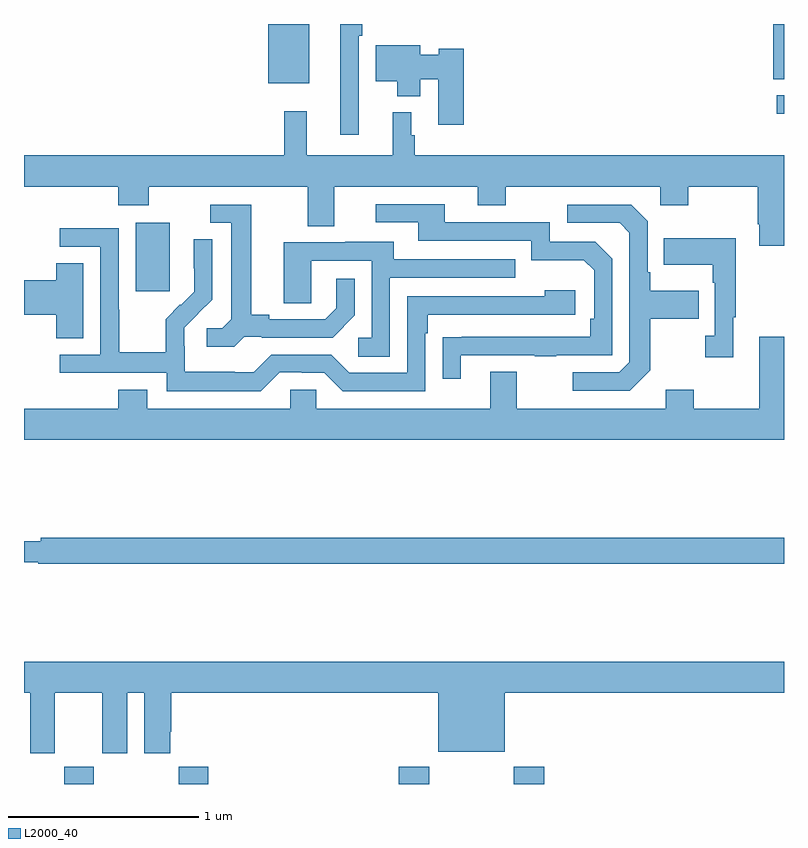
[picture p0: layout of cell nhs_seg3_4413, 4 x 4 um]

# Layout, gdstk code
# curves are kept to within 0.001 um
import gdstk
lib = gdstk.Library(unit=1e-6, precision=1e-09)
def R(c, l, rs):  # rectangles x0, y0, x1, y1
    for r in rs: c.add(gdstk.rectangle(r[:2], r[2:], *l))
def P(c, l, *ps):  # polygons
    for p in ps: c.add(gdstk.Polygon(p, *l))
L2000_40 = (2000, 40)

nhs_seg3_4413 = lib.new_cell('nhs_seg3_4413')
R(nhs_seg3_4413, L2000_40, [(345.211,736.4,345.366,736.492), (345.815,736.4,345.971,736.492), (346.973,736.4,347.133,736.492), (347.578,736.4,347.738,736.492), (345.587,738.993,345.766,739.354), (348.963,739.927,349,740.025), (346.286,740.087,346.501,740.4), (348.944,740.11,349,740.4)])
P(nhs_seg3_4413, L2000_40, [(346.761,740.339),(346.781,740.339),(346.781,740.4),(346.664,740.4),(346.664,739.818),(346.761,739.818)],
  [(347.315,740.27),(347.184,740.27),(347.184,740.239),(347.086,740.239),(347.086,740.287),(346.85,740.287),(346.85,740.099),(346.964,740.099),(346.964,740.021),(347.086,740.021),(347.086,740.11),(347.18,740.11),(347.18,739.869),(347.315,739.869)],
  [(345,739.544),(345.497,739.544),(345.497,739.445),(345.657,739.445),(345.657,739.544),(346.493,739.544),(346.493,739.336),(346.633,739.336),(346.633,739.544),(347.387,739.544),(347.387,739.445),(347.535,739.445),(347.535,739.544),(348.348,739.544),(348.348,739.445),(348.495,739.445),(348.495,739.544),(348.862,739.544),(348.862,739.345),(348.869,739.345),(348.869,739.233),(349,739.233),(349,739.708),(347.057,739.708),(347.057,739.815),(347.038,739.815),(347.038,739.936),(346.94,739.936),(346.94,739.708),(346.487,739.708),(346.487,739.942),(346.369,739.942),(346.369,739.708),(345,739.708)],
  [(347.299,738.657),(347.689,738.657),(347.689,738.652),(347.801,738.652),(347.801,738.657),(348.096,738.657),(348.096,739.164),(348.006,739.254),(347.766,739.254),(347.766,739.356),(347.215,739.356),(347.215,739.452),(346.851,739.452),(346.851,739.356),(347.075,739.356),(347.075,739.26),(347.67,739.26),(347.67,739.157),(347.947,739.157),(348,739.104),(348,738.85),(347.98,738.85),(347.98,738.753),(347.203,738.752),(347.203,738.534),(347.299,738.534)],
  [(346.158,738.753),(346.252,738.753),(346.252,738.75),(346.624,738.75),(346.74,738.866),(346.74,739.06),(346.643,739.06),(346.643,738.903),(346.586,738.846),(346.291,738.846),(346.291,738.869),(346.195,738.869),(346.195,739.449),(345.981,739.449),(345.981,739.353),(346.091,739.353),(346.091,738.845),(346.044,738.798),(345.963,738.798),(345.963,738.701),(346.106,738.701)],
  [(348.295,738.577),(348.295,738.85),(348.551,738.85),(348.551,738.997),(348.295,738.997),(348.295,739.093),(348.282,739.093),(348.282,739.362),(348.195,739.449),(347.859,739.449),(347.859,739.353),(348.135,739.353),(348.186,739.302),(348.186,738.621),(348.132,738.567),(347.889,738.567),(347.889,738.471),(348.189,738.471)],
  [(346.347,738.567),(346.463,738.567),(346.463,738.564),(346.581,738.564),(346.677,738.468),(347.112,738.468),(347.112,738.773),(347.125,738.773),(347.125,738.87),(347.902,738.87),(347.902,739),(347.741,739),(347.741,738.966),(347.016,738.966),(347.016,738.564),(346.713,738.564),(346.617,738.66),(346.302,738.66),(346.209,738.567),(346.109,738.567),(346.109,738.571),(345.846,738.571),(345.846,738.705),(345.844,738.705),(345.844,738.802),(345.99,738.95),(345.99,739.268),(345.894,739.268),(345.894,739.114),(345.896,739.114),(345.896,738.992),(345.825,738.921),(345.822,738.924),(345.745,738.847),(345.745,738.673),(345.501,738.673),(345.501,738.896),(345.498,738.896),(345.498,739.326),(345.189,739.326),(345.189,739.227),(345.402,739.227),(345.402,738.66),(345.189,738.66),(345.189,738.564),(345.75,738.564),(345.75,738.467),(346.247,738.467)],
  [(348.733,738.857),(348.745,738.857),(348.745,739.273),(348.367,739.273),(348.367,739.133),(348.624,739.133),(348.624,739.037),(348.636,739.037),(348.636,738.758),(348.585,738.758),(348.585,738.645),(348.733,738.645)],
  [(346.926,739.065),(347.585,739.065),(347.585,739.161),(346.945,739.161),(346.945,739.255),(346.691,739.255),(346.691,739.251),(346.367,739.251),(346.367,738.931),(346.512,738.931),(346.512,739.155),(346.83,739.155),(346.83,738.75),(346.758,738.75),(346.758,738.649),(346.926,738.649)],
  [(345.313,739.142),(345.17,739.142),(345.17,739.052),(345,739.052),(345,738.869),(345.17,738.869),(345.17,738.745),(345.313,738.745)],
  [(349,738.754),(348.869,738.754),(348.869,738.376),(348.525,738.376),(348.525,738.475),(348.377,738.475),(348.377,738.376),(347.593,738.376),(347.593,738.571),(347.453,738.571),(347.453,738.376),(346.539,738.376),(346.539,738.474),(346.401,738.474),(346.401,738.376),(345.649,738.376),(345.649,738.475),(345.497,738.475),(345.497,738.376),(345,738.376),(345,738.212),(349,738.212)],
  [(349,737.696),(345.088,737.696),(345.088,737.677),(345,737.677),(345,737.568),(345.074,737.568),(345.074,737.56),(349,737.56)],
  [(345.163,736.88),(345.413,736.88),(345.413,736.563),(345.544,736.563),(345.544,736.88),(345.632,736.88),(345.632,736.563),(345.769,736.563),(345.769,736.675),(345.776,736.675),(345.776,736.88),(347.18,736.88),(347.18,736.571),(347.53,736.571),(347.53,736.88),(349,736.88),(349,737.044),(345,737.044),(345,736.88),(345.032,736.88),(345.032,736.563),(345.163,736.563)])

lib.write_gds('nhs_seg3_4413.gds')
